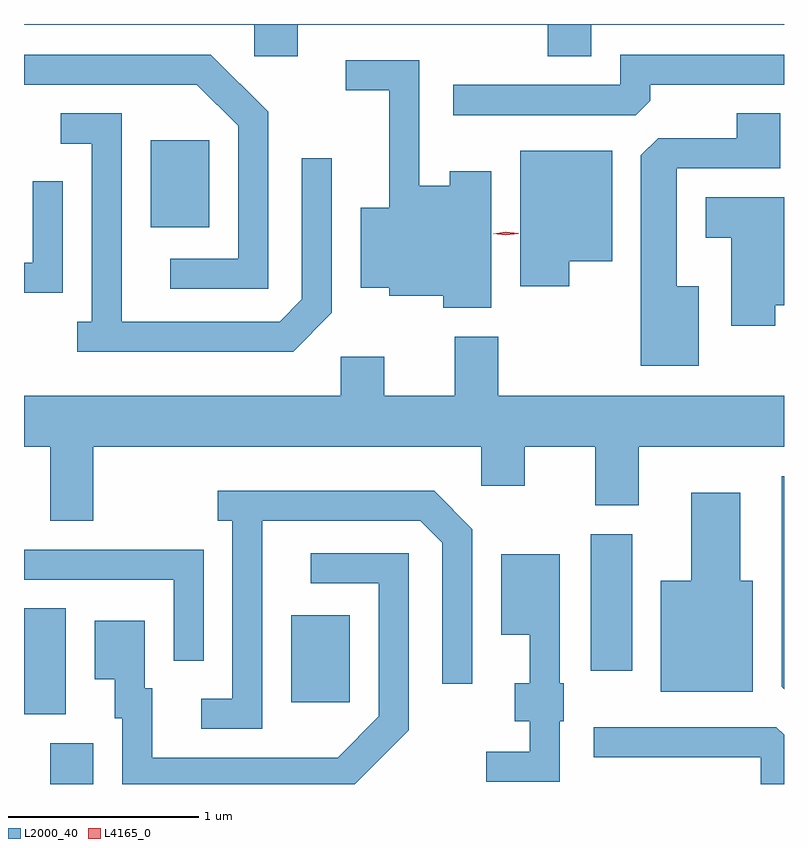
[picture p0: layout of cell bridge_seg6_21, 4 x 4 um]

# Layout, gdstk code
import gdstk
lib = gdstk.Library(unit=1e-6, precision=1e-09)
def R(c, l, rs):  # rectangles x0, y0, x1, y1
    for r in rs: c.add(gdstk.rectangle(r[:2], r[2:], *l))
def P(c, l, *ps):  # polygons
    for p in ps: c.add(gdstk.Polygon(p, *l))
L2000_40 = (2000, 40)
L4165_0 = (4165, 0)

bridge_seg6_21 = lib.new_cell('bridge_seg6_21')
R(bridge_seg6_21, L2000_40, [(1795.311,1637.06,1795.539,1637.274), (1795.174,1637.426,1795.394,1637.984), (1796.581,1637.491,1796.889,1637.949), (1798.156,1637.656,1798.374,1638.374), (1795.841,1639.991,1796.149,1640.449)])
P(bridge_seg6_21, L2000_40, [(1795.174,1641.056),(1796.386,1641.056),(1796.386,1640.891),(1796.614,1640.891),(1796.614,1641.056),(1797.931,1641.056),(1797.931,1640.891),(1798.159,1640.891),(1798.159,1641.056),(1799.174,1641.056),(1799.174,1641.06),(1795.174,1641.06)],
  [(1796.459,1640.597),(1796.157,1640.899),(1795.174,1640.899),(1795.174,1640.741),(1796.084,1640.741),(1796.301,1640.524),(1796.301,1639.824),(1795.943,1639.824),(1795.943,1639.666),(1796.459,1639.666)],
  [(1798.469,1640.657),(1798.469,1640.741),(1799.174,1640.741),(1799.174,1640.899),(1798.311,1640.899),(1798.311,1640.739),(1797.433,1640.739),(1797.433,1640.581),(1798.394,1640.581)],
  [(1797.634,1640.284),(1797.416,1640.284),(1797.416,1640.209),(1797.254,1640.209),(1797.254,1640.869),(1796.868,1640.869),(1796.868,1640.711),(1797.096,1640.711),(1797.096,1640.094),(1796.946,1640.094),(1796.946,1639.671),(1797.096,1639.671),(1797.096,1639.631),(1797.381,1639.631),(1797.381,1639.566),(1797.634,1639.566)],
  [(1796.794,1639.539),(1796.794,1640.353),(1796.636,1640.353),(1796.636,1639.612),(1796.519,1639.494),(1795.689,1639.494),(1795.689,1640.589),(1795.368,1640.589),(1795.368,1640.431),(1795.531,1640.431),(1795.531,1639.494),(1795.453,1639.494),(1795.453,1639.336),(1796.592,1639.336)],
  [(1798.724,1639.679),(1798.609,1639.679),(1798.609,1640.301),(1799.154,1640.301),(1799.154,1640.589),(1798.926,1640.589),(1798.926,1640.459),(1798.512,1640.459),(1798.421,1640.369),(1798.421,1639.261),(1798.724,1639.261)],
  [(1798.044,1639.811),(1798.269,1639.811),(1798.269,1640.394),(1797.786,1640.394),(1797.786,1639.681),(1798.044,1639.681)],
  [(1795.379,1640.233),(1795.221,1640.233),(1795.221,1639.804),(1795.174,1639.804),(1795.174,1639.646),(1795.379,1639.646)],
  [(1799.129,1639.581),(1799.174,1639.581),(1799.174,1640.149),(1798.761,1640.149),(1798.761,1639.936),(1798.896,1639.936),(1798.896,1639.471),(1799.129,1639.471)],
  [(1795.539,1638.836),(1797.581,1638.836),(1797.581,1638.631),(1797.809,1638.631),(1797.809,1638.836),(1798.181,1638.836),(1798.181,1638.526),(1798.409,1638.526),(1798.409,1638.836),(1799.174,1638.836),(1799.174,1639.104),(1797.669,1639.104),(1797.669,1639.414),(1797.441,1639.414),(1797.441,1639.104),(1797.069,1639.104),(1797.069,1639.309),(1796.841,1639.309),(1796.841,1639.104),(1795.174,1639.104),(1795.174,1638.836),(1795.311,1638.836),(1795.311,1638.446),(1795.539,1638.446)],
  [(1799.174,1638.679),(1799.161,1638.679),(1799.161,1637.572),(1799.174,1637.559)],
  [(1796.429,1638.446),(1797.259,1638.446),(1797.376,1638.329),(1797.376,1637.588),(1797.534,1637.588),(1797.534,1638.402),(1797.332,1638.604),(1796.193,1638.604),(1796.193,1638.446),(1796.271,1638.446),(1796.271,1637.509),(1796.108,1637.509),(1796.108,1637.351),(1796.429,1637.351)],
  [(1799.009,1638.129),(1798.944,1638.129),(1798.944,1638.594),(1798.686,1638.594),(1798.686,1638.129),(1798.526,1638.129),(1798.526,1637.546),(1799.009,1637.546)],
  [(1796.119,1638.294),(1795.174,1638.294),(1795.174,1638.136),(1795.961,1638.136),(1795.961,1637.708),(1796.119,1637.708)],
  [(1797.199,1637.344),(1797.199,1638.274),(1796.683,1638.274),(1796.683,1638.116),(1797.041,1638.116),(1797.041,1637.417),(1796.824,1637.199),(1795.849,1637.199),(1795.849,1637.564),(1795.809,1637.564),(1795.809,1637.919),(1795.546,1637.919),(1795.546,1637.611),(1795.651,1637.611),(1795.651,1637.406),(1795.691,1637.406),(1795.691,1637.06),(1796.916,1637.06)],
  [(1797.994,1637.391),(1798.014,1637.391),(1798.014,1637.589),(1797.994,1637.589),(1797.994,1638.269),(1797.686,1638.269),(1797.686,1637.846),(1797.836,1637.846),(1797.836,1637.589),(1797.756,1637.589),(1797.756,1637.391),(1797.836,1637.391),(1797.836,1637.229),(1797.608,1637.229),(1797.608,1637.071),(1797.994,1637.071)],
  [(1799.174,1637.319),(1799.134,1637.359),(1798.173,1637.359),(1798.173,1637.201),(1799.051,1637.201),(1799.051,1637.06),(1799.174,1637.06)])
P(bridge_seg6_21, L4165_0, [(1797.71,1639.947),(1797.644,1639.956),(1797.644,1639.957),(1797.644,1639.957),(1797.71,1639.967),(1797.776,1639.958),(1797.777,1639.958),(1797.776,1639.957)])

lib.write_gds('bridge_seg6_21.gds')
